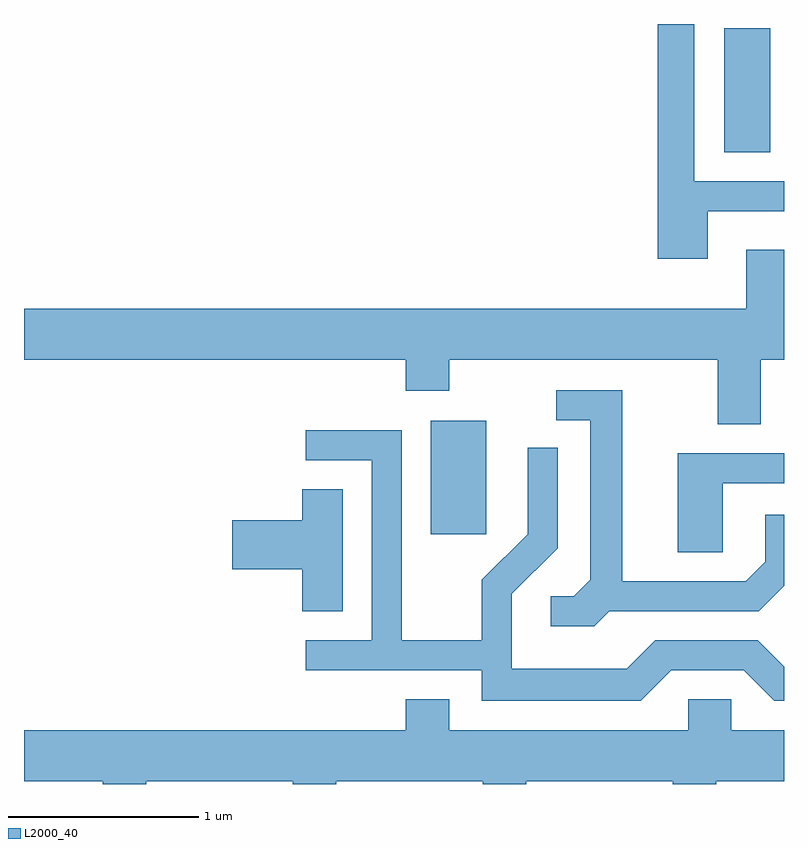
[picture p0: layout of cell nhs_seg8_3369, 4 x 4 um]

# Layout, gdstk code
import gdstk
lib = gdstk.Library(unit=1e-6, precision=1e-09)
def R(c, l, rs):  # rectangles x0, y0, x1, y1
    for r in rs: c.add(gdstk.rectangle(r[:2], r[2:], *l))
def P(c, l, *ps):  # polygons
    for p in ps: c.add(gdstk.Polygon(p, *l))
L2000_40 = (2000, 40)

nhs_seg8_3369 = lib.new_cell('nhs_seg8_3369')
R(nhs_seg8_3369, L2000_40, [(287.751,1897.656,288.044,1898.254), (289.296,1899.666,289.539,1900.319)])
P(nhs_seg8_3369, L2000_40, [(289.209,1899.356),(289.611,1899.356),(289.611,1899.514),(289.139,1899.514),(289.139,1900.342),(288.946,1900.342),(288.946,1899.106),(289.209,1899.106)],
  [(285.611,1898.576),(287.621,1898.576),(287.621,1898.411),(287.849,1898.411),(287.849,1898.576),(289.261,1898.576),(289.261,1898.236),(289.489,1898.236),(289.489,1898.576),(289.611,1898.576),(289.611,1899.154),(289.411,1899.154),(289.411,1898.844),(285.611,1898.844)],
  [(288.692,1897.251),(289.477,1897.251),(289.611,1897.386),(289.611,1897.758),(289.511,1897.758),(289.511,1897.512),(289.409,1897.409),(288.759,1897.409),(288.759,1898.414),(288.413,1898.414),(288.413,1898.256),(288.591,1898.256),(288.591,1897.417),(288.504,1897.329),(288.383,1897.329),(288.383,1897.171),(288.612,1897.171)],
  [(289.017,1896.941),(289.399,1896.941),(289.559,1896.781),(289.611,1896.781),(289.611,1896.96),(289.472,1897.099),(288.934,1897.099),(288.784,1896.949),(288.179,1896.949),(288.179,1897.344),(288.419,1897.584),(288.419,1898.113),(288.261,1898.113),(288.261,1897.657),(288.021,1897.417),(288.021,1897.099),(287.599,1897.099),(287.599,1898.204),(287.093,1898.204),(287.093,1898.046),(287.441,1898.046),(287.441,1897.099),(287.093,1897.099),(287.093,1896.941),(288.021,1896.941),(288.021,1896.781),(288.857,1896.781)],
  [(289.289,1897.926),(289.611,1897.926),(289.611,1898.084),(289.051,1898.084),(289.051,1897.561),(289.289,1897.561)],
  [(287.289,1897.894),(287.076,1897.894),(287.076,1897.729),(286.706,1897.729),(286.706,1897.471),(287.076,1897.471),(287.076,1897.251),(287.289,1897.251)],
  [(287.849,1896.789),(287.621,1896.789),(287.621,1896.624),(285.611,1896.624),(285.611,1896.356),(286.026,1896.356),(286.026,1896.342),(286.254,1896.342),(286.254,1896.356),(287.026,1896.356),(287.026,1896.342),(287.254,1896.342),(287.254,1896.356),(288.026,1896.356),(288.026,1896.342),(288.254,1896.342),(288.254,1896.356),(289.026,1896.356),(289.026,1896.342),(289.254,1896.342),(289.254,1896.356),(289.611,1896.356),(289.611,1896.624),(289.334,1896.624),(289.334,1896.789),(289.106,1896.789),(289.106,1896.624),(287.849,1896.624)])

lib.write_gds('nhs_seg8_3369.gds')
